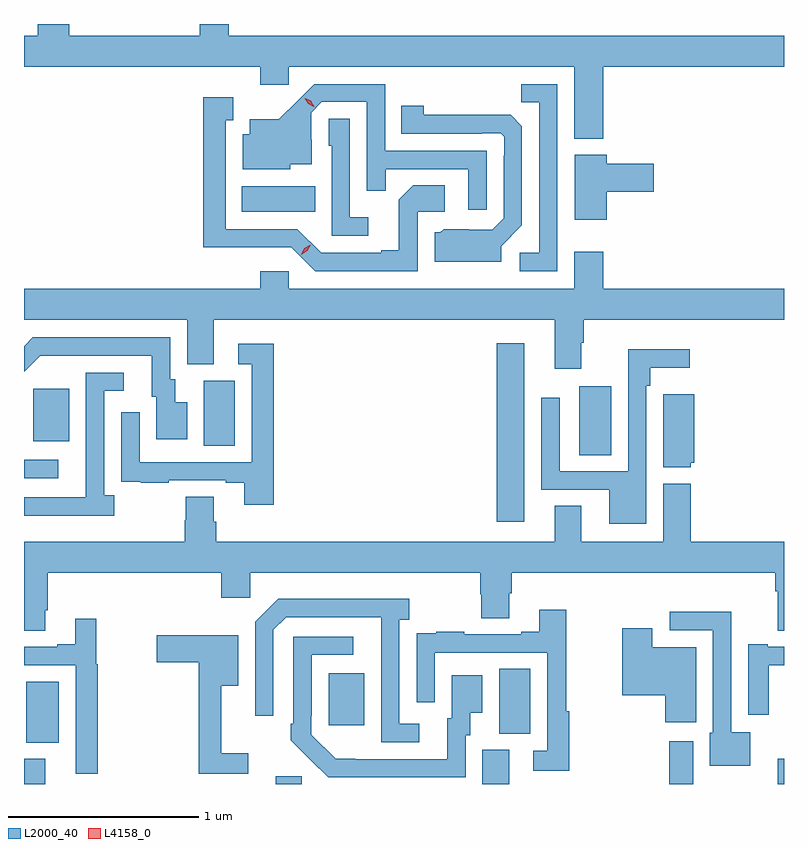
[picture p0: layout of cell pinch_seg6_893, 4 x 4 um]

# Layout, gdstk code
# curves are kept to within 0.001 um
import gdstk
lib = gdstk.Library(unit=1e-6, precision=1e-09)
def R(c, l, rs):  # rectangles x0, y0, x1, y1
    for r in rs: c.add(gdstk.rectangle(r[:2], r[2:], *l))
def P(c, l, *ps):  # polygons
    for p in ps: c.add(gdstk.Polygon(p, *l))
L2000_40 = (2000, 40)
L4158_0 = (4158, 0)

pinch_seg6_893 = lib.new_cell('pinch_seg6_893')
R(pinch_seg6_893, L2000_40, [(336.244,920.917,336.355,921.049), (337.568,920.917,337.707,920.958), (338.657,920.917,338.797,921.096), (339.641,920.917,339.766,921.142), (340.211,920.917,340.244,921.049), (336.257,921.134,336.427,921.454), (338.744,921.181,338.908,921.524), (337.847,921.225,338.035,921.499), (338.732,922.296,338.878,923.236), (336.244,922.527,336.424,922.623), (339.167,922.648,339.334,923.011), (337.19,922.696,337.354,923.04), (336.293,922.721,336.481,922.996), (337.391,923.93,337.778,924.064)])
P(pinch_seg6_893, L2000_40, [(339.293,924.692),(340.244,924.692),(340.244,924.856),(337.322,924.856),(337.322,924.917),(337.169,924.917),(337.169,924.856),(336.482,924.856),(336.482,924.917),(336.317,924.917),(336.317,924.856),(336.244,924.856),(336.244,924.692),(337.487,924.692),(337.487,924.597),(337.638,924.597),(337.638,924.692),(339.14,924.692),(339.14,924.314),(339.293,924.314)],
  [(339.051,924.6),(338.86,924.6),(338.86,924.505),(338.955,924.505),(338.955,923.712),(338.853,923.712),(338.853,923.616),(339.051,923.616)],
  [(338.679,924.249),(338.145,924.249),(338.145,924.6),(337.772,924.6),(337.585,924.415),(337.433,924.415),(337.433,924.337),(337.394,924.337),(337.394,924.152),(337.644,924.152),(337.644,924.179),(337.759,924.179),(337.759,924.308),(337.755,924.308),(337.755,924.45),(337.812,924.507),(338.049,924.507),(338.049,924.04),(338.147,924.04),(338.147,924.153),(338.583,924.153),(338.583,923.94),(338.679,923.94)],
  [(338.316,923.928),(338.458,923.928),(338.458,924.068),(338.293,924.068),(338.217,923.992),(338.217,923.725),(338.123,923.725),(338.123,923.712),(337.809,923.712),(337.683,923.838),(337.306,923.838),(337.306,924.411),(337.345,924.411),(337.345,924.532),(337.188,924.532),(337.188,923.741),(337.65,923.742),(337.776,923.616),(338.316,923.616)],
  [(338.755,923.748),(338.865,923.858),(338.865,924.38),(338.806,924.439),(338.349,924.44),(338.349,924.487),(338.23,924.487),(338.23,924.339),(338.654,924.339),(338.654,924.342),(338.754,924.342),(338.772,924.324),(338.772,924.224),(338.769,924.224),(338.769,923.895),(338.709,923.835),(338.452,923.836),(338.436,923.82),(338.405,923.82),(338.405,923.666),(338.755,923.666)],
  [(338.056,923.899),(337.959,923.899),(337.959,924.419),(337.848,924.419),(337.848,924.276),(337.863,924.276),(337.863,923.802),(338.056,923.802)],
  [(339.31,924.035),(339.559,924.035),(339.559,924.182),(339.31,924.182),(339.31,924.229),(339.143,924.229),(339.143,923.886),(339.31,923.886)],
  [(339.178,923.24),(339.191,923.24),(339.191,923.36),(340.244,923.36),(340.244,923.524),(339.293,923.524),(339.293,923.719),(339.14,923.719),(339.14,923.524),(337.638,923.524),(337.638,923.617),(337.487,923.617),(337.487,923.524),(336.244,923.524),(336.244,923.36),(337.103,923.36),(337.103,923.125),(337.243,923.125),(337.243,923.36),(339.038,923.36),(339.038,923.103),(339.178,923.103)],
  [(337.102,922.927),(337.039,922.927),(337.039,923.046),(337.014,923.046),(337.014,923.268),(336.29,923.268),(336.244,923.222),(336.244,923.086),(336.33,923.172),(336.917,923.172),(336.917,922.956),(336.941,922.956),(336.941,922.731),(337.102,922.731)],
  [(337.559,923.233),(337.371,923.233),(337.371,923.127),(337.443,923.127),(337.443,922.611),(336.852,922.611),(336.852,922.873),(336.756,922.873),(336.756,922.618),(336.757,922.618),(336.757,922.509),(336.859,922.509),(336.859,922.503),(337.007,922.503),(337.007,922.515),(337.307,922.515),(337.307,922.503),(337.403,922.503),(337.403,922.386),(337.559,922.386)],
  [(339.519,923.012),(339.539,923.012),(339.539,923.108),(339.748,923.108),(339.748,923.206),(339.423,923.206),(339.423,922.563),(339.063,922.563),(339.063,922.951),(338.967,922.951),(338.967,922.467),(339.323,922.467),(339.323,922.286),(339.519,922.286)],
  [(336.718,922.438),(336.666,922.438),(336.666,922.986),(336.769,922.986),(336.769,923.082),(336.57,923.082),(336.57,922.625),(336.569,922.625),(336.569,922.425),(336.244,922.425),(336.244,922.328),(336.718,922.328)],
  [(339.753,922.608),(339.772,922.608),(339.772,922.969),(339.608,922.969),(339.608,922.583),(339.753,922.583)],
  [(336.355,921.832),(336.368,921.832),(336.368,922.028),(337.283,922.028),(337.283,921.897),(337.434,921.897),(337.434,922.028),(338.645,922.028),(338.645,921.915),(338.65,921.915),(338.65,921.79),(338.797,921.79),(338.797,921.922),(338.81,921.922),(338.81,922.028),(340.199,922.028),(340.199,921.932),(340.211,921.932),(340.211,921.724),(340.244,921.724),(340.244,922.192),(339.752,922.192),(339.752,922.498),(339.608,922.498),(339.608,922.192),(339.178,922.192),(339.178,922.382),(339.038,922.382),(339.038,922.192),(337.256,922.192),(337.256,922.298),(337.243,922.298),(337.243,922.43),(337.096,922.43),(337.096,922.305),(337.091,922.305),(337.091,922.192),(336.244,922.192),(336.244,921.724),(336.355,921.724)],
  [(338.323,921.234),(338.22,921.234),(338.22,921.782),(338.272,921.782),(338.272,921.892),(337.582,921.892),(337.461,921.771),(337.461,921.276),(337.557,921.276),(337.557,921.729),(337.623,921.795),(338.123,921.795),(338.124,921.138),(338.323,921.138)],
  [(339.113,921.3),(339.098,921.3),(339.098,921.835),(338.957,921.835),(338.957,921.718),(338.861,921.718),(338.861,921.705),(338.561,921.705),(338.561,921.718),(338.413,921.718),(338.413,921.711),(338.311,921.711),(338.311,921.602),(338.31,921.602),(338.31,921.348),(338.406,921.348),(338.406,921.609),(338.997,921.609),(338.997,921.093),(338.925,921.093),(338.925,920.988),(339.113,920.988)],
  [(340.066,921.19),(339.966,921.19),(339.966,921.824),(339.642,921.824),(339.642,921.726),(339.87,921.726),(339.87,921.186),(339.854,921.186),(339.854,921.014),(340.066,921.014)],
  [(336.632,921.546),(336.625,921.546),(336.625,921.787),(336.515,921.787),(336.515,921.652),(336.419,921.652),(336.419,921.639),(336.244,921.639),(336.244,921.543),(336.516,921.543),(336.516,920.97),(336.632,920.97)],
  [(339.781,921.637),(339.55,921.637),(339.55,921.736),(339.392,921.736),(339.392,921.383),(339.62,921.383),(339.62,921.243),(339.781,921.243)],
  [(337.423,921.079),(337.283,921.079),(337.283,921.434),(337.372,921.434),(337.372,921.699),(336.942,921.699),(336.942,921.557),(337.165,921.557),(337.165,920.97),(337.423,920.97)],
  [(338.568,921.174),(338.593,921.174),(338.593,921.293),(338.656,921.293),(338.656,921.49),(338.495,921.49),(338.495,921.264),(338.471,921.264),(338.471,921.048),(337.884,921.049),(337.755,921.177),(337.755,921.277),(337.758,921.277),(337.758,921.597),(337.978,921.597),(337.978,921.693),(337.662,921.693),(337.662,921.235),(337.647,921.235),(337.647,921.147),(337.844,920.952),(338.568,920.952)],
  [(340.165,921.543),(340.244,921.543),(340.244,921.639),(340.159,921.639),(340.159,921.652),(340.055,921.652),(340.055,921.282),(340.165,921.282)])
P(pinch_seg6_893, L4158_0, [(337.77,924.482),(337.74,924.497),(337.722,924.527),(337.722,924.527),(337.723,924.527),(337.753,924.512),(337.771,924.482),(337.771,924.482)],
  [(337.702,923.703),(337.702,923.704),(337.72,923.736),(337.752,923.756),(337.752,923.756),(337.752,923.756),(337.734,923.723),(337.703,923.703)])

lib.write_gds('pinch_seg6_893.gds')
